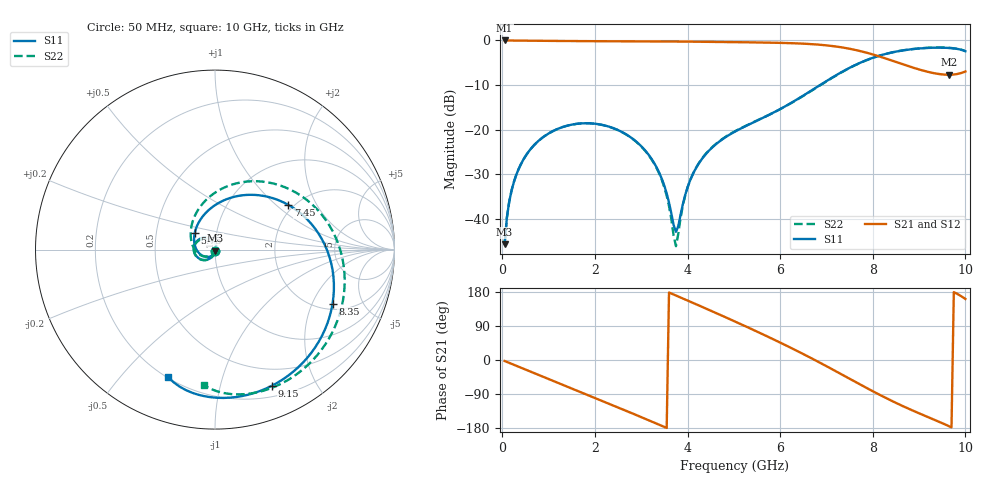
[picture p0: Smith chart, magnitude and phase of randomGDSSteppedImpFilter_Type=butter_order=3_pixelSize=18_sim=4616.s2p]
! freq	dB(S11)	phase(S11)	dB(S12)	phase(S12)
!  dB(S21)	phase(S21)	dB(S22)	phase(S22)
!S-par simulation data
#  GHz  S  DB  R 50
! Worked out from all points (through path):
!   200 points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, 50 MHz to 10 GHz, reference 50 ohm
!   highest |S21| = -0.01 dB at 50 MHz (marker M1); lowest = -7.7 dB at 9.65 GHz (marker M2)
!   group delay of S21, straight-line fit = 156 ps
!   lowest |S11| = -45.6 dB at 50 MHz (marker M3), VSWR 1.01, Z = 50 - j0.524 ohm
!   |S11| at or under -10 dB: start of sweep to 6.861 GHz
!   |S22| runs from -46.1 to -1.6 dB; largest |S21 - S12| = 0
!   S11 on the Smith chart (normalised r, x): 50 MHz: 1.00, -0.01; 5.75 GHz: 0.78, +0.15; 7.45 GHz: 1.87, +1.21; 8.35 GHz: 2.29, -2.87; 9.15 GHz: 0.31, -1.46; 10 GHz: 0.20, -0.68
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0.05  -45.60 -91.9  -0.01 -2.6  -0.01 -2.6  -45.60 -91.8
0.1  -39.59 -94.9  -0.02 -5.1  -0.02 -5.1  -39.59 -94.7
0.2  -33.61 -100.3  -0.03 -10.1  -0.03 -10.1  -33.61 -100.0
0.5  -25.92 -116.0  -0.05 -25.1  -0.05 -25.1  -25.92 -115.2
1.15  -20.01 -149.4  -0.11 -57.6  -0.11 -57.6  -20.02 -147.5
1.75  -18.55 179.7  -0.16 -87.5  -0.16 -87.5  -18.56 -176.9
2.75  -21.53 126.0  -0.20 -137.9  -0.20 -137.9  -21.56 134.6
3.4  -29.87 83.6  -0.22 -171.4  -0.22 -171.4  -30.09 108.1
3.55  -34.27 66.6  -0.23 -179.3  -0.23 -179.3  -34.78 107.3
3.75  -42.86 -10.8  -0.24 170.2  -0.24 170.2  -46.06 174.4
3.95  -34.59 -90.7  -0.26 159.6  -0.26 159.6  -34.70 -124.3
4.15  -29.22 -112.7  -0.28 149.0  -0.28 149.0  -29.16 -126.9
5.05  -20.26 -173.8  -0.39 100.2  -0.39 100.2  -20.19 -167.6
5.75  -16.72 140.8  -0.49 60.7  -0.49 60.7  -16.71 156.3
6.25  -13.91 108.2  -0.62 31.0  -0.62 31.0  -13.96 128.3
6.7  -11.05 79.4  -0.84 3.1  -0.84 3.1  -11.12 101.1
7.45  -6.40 31.3  -1.77 -46.1  -1.77 -46.1  -6.44 51.8
7.85  -4.47 5.7  -2.70 -72.7  -2.70 -72.7  -4.49 25.0
8.35  -2.84 -24.7  -4.29 -104.2  -4.29 -104.2  -2.84 -6.8
9.15  -1.70 -67.3  -6.93 -148.5  -6.93 -148.5  -1.67 -51.0
9.65  -1.69 -91.6  -7.68 -174.9  -7.68 -174.9  -1.66 -75.9
10  -2.41 -110.1  -6.95 161.0  -6.95 161.0  -2.41 -94.8
